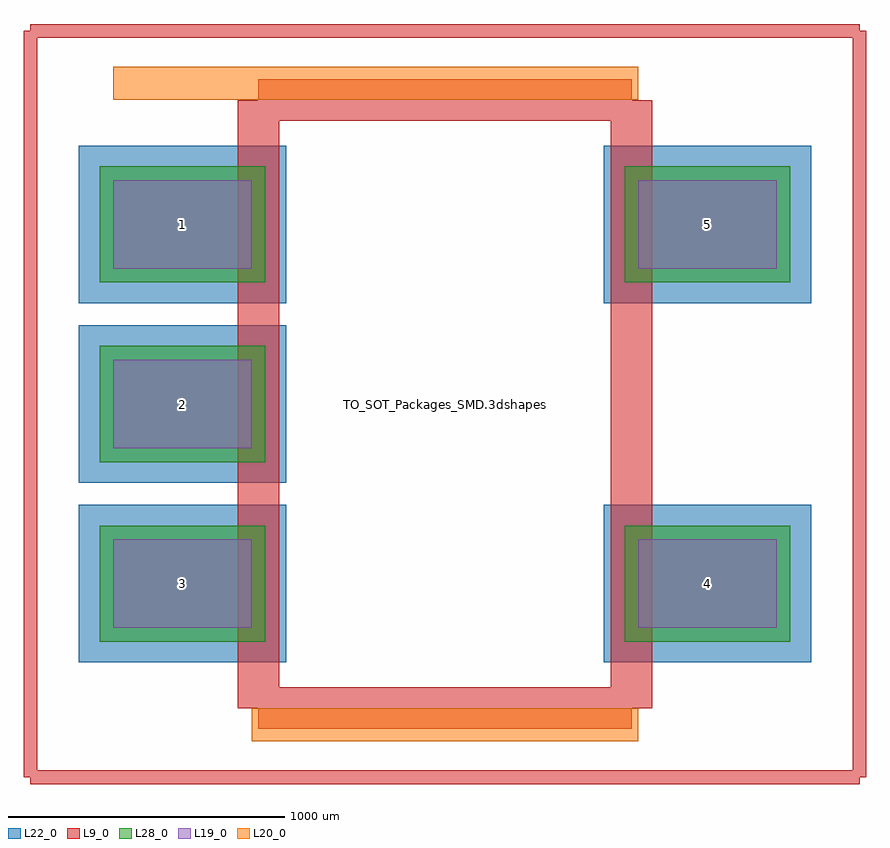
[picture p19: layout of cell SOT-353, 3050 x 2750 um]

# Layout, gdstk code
import gdstk
lib = gdstk.Library(unit=1e-6, precision=1e-09)
def R(c, l, rs):  # rectangles x0, y0, x1, y1
    for r in rs: c.add(gdstk.rectangle(r[:2], r[2:], *l))
def A(c, l, x, y, w, h, nx, ny, dx, dy):  # array of equal rectangles
    R(c, l, [(x+i*dx, y+j*dy, x+i*dx+w, y+j*dy+h) for i in range(nx) for j in range(ny)])
L9_0 = (9, 0)
L19_0 = (19, 0)
L20_0 = (20, 0)
L22_0 = (22, 0)
L28_0 = (28, 0)

sot_353 = lib.new_cell('SOT-353')
A(sot_353, L19_0, -1200, -810, 500, 320, 1, 3, 0, 650)
R(sot_353, L19_0, [(700,-810,1200,-490), (700,490,1200,810)])
A(sot_353, L22_0, -1325, -935, 750, 570, 1, 3, 0, 650)
R(sot_353, L22_0, [(575,-935,1325,-365), (575,365,1325,935)])
A(sot_353, L28_0, -1250, -860, 600, 420, 1, 3, 0, 650)
R(sot_353, L28_0, [(650,-860,1250,-440), (650,440,1250,860)])
sot_353.add(gdstk.FlexPath([(675,-1100),(-675,-1100)], 149.998, ends="flush", simple_path=True, layer=9, datatype=0))  # L9_0
sot_353.add(gdstk.FlexPath([(675,1100),(675,-1100)], 149.998, ends="flush", simple_path=True, layer=9, datatype=0))  # L9_0
sot_353.add(gdstk.FlexPath([(-1500,-1350),(1500,-1350)], 50, ends="flush", simple_path=True, layer=9, datatype=0))  # L9_0
sot_353.add(gdstk.FlexPath([(-675,1100),(-675,-1100)], 149.998, ends="flush", simple_path=True, layer=9, datatype=0))  # L9_0
sot_353.add(gdstk.FlexPath([(675,1100),(-675,1100)], 149.998, ends="flush", simple_path=True, layer=9, datatype=0))  # L9_0
sot_353.add(gdstk.FlexPath([(-1500,1350),(1500,1350)], 50, ends="flush", simple_path=True, layer=9, datatype=0))  # L9_0
sot_353.add(gdstk.FlexPath([(-1500,1350),(-1500,-1350)], 50, ends="flush", simple_path=True, layer=9, datatype=0))  # L9_0
sot_353.add(gdstk.FlexPath([(1500,-1350),(1500,1350)], 50, ends="flush", simple_path=True, layer=9, datatype=0))  # L9_0
sot_353.add(gdstk.FlexPath([(-700,-1160),(700,-1160)], 119.998, ends="flush", simple_path=True, layer=20, datatype=0))  # L20_0
sot_353.add(gdstk.FlexPath([(700,1160),(-1200,1160)], 119.998, ends="flush", simple_path=True, layer=20, datatype=0))  # L20_0
sot_353.add(gdstk.Label('TO_SOT_Packages_SMD.3dshapes/SOT-353.wrl', (0,0), layer=12, texttype=0))
sot_353.add(gdstk.Label('4', (950,-650), layer=28, texttype=0))
sot_353.add(gdstk.Label('2', (-950,0), layer=28, texttype=0))
sot_353.add(gdstk.Label('5', (950,650), layer=28, texttype=0))
sot_353.add(gdstk.Label('3', (-950,-650), layer=28, texttype=0))
sot_353.add(gdstk.Label('1', (-950,650), layer=28, texttype=0))
sot_353.add(gdstk.Label('type', (0,-2250), layer=9, texttype=0))
sot_353.add(gdstk.Label('devicename', (0,2000), layer=9, texttype=0))

lib.write_gds('SOT-353.gds')
